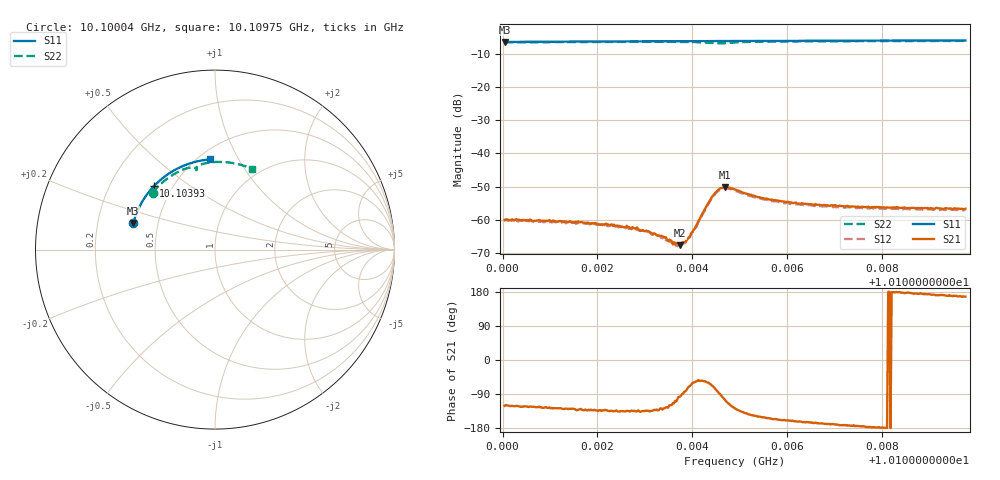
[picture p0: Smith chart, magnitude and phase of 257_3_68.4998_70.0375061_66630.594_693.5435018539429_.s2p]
#  HZ  S  RI  R  50.00
! Rohde & Schwarz Vector Network Analyzer
! Rohde-Schwarz,ZNB20-2Port,1311601062101988,3.16
! Created: UTC 3/20/2024, 5:00:06 PM
! freq[Hz]  re:S11  im:S11  re:S21  im:S21  re:S12  im:S12  re:S22  im:S22
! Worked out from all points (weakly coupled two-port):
!   401 points, 10.10004 GHz to 10.10975 GHz, reference 50 ohm
!   highest |S21| = -50.17 dB at 10.10468 GHz (marker M1); lowest = -67.6 dB at 10.10373 GHz (marker M2)
!   lowest |S11| = -6.4 dB at 10.10004 GHz (marker M3), VSWR 2.84, Z = 18 + j6.93 ohm
!   |S11| at or under -10 dB: nowhere
!   |S22| runs from -6.9 to -6.1 dB; largest |S21 - S12| = 0.00031
!   S11 on the Smith chart (normalised r, x): 10.10004 GHz: 0.36, +0.14; 10.10393 GHz: 0.39, +0.37; 10.10975 GHz: 0.57, +0.76
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1.0100043e10  -0.4551 0.1483  -0.000507 -0.000853  -0.000413 -0.000873  -0.348 0.3177
1.0101669e10  -0.4198 0.2408  -0.000615 -0.000696  -0.000557 -0.000683  -0.2724 0.3907
1.0102131e10  -0.4065 0.2654  -0.000581 -0.000623  -0.000526 -0.000629  -0.248 0.4082
1.0102786e10  -0.385 0.299  -0.000517 -0.000531  -0.000485 -0.000537  -0.2108 0.4303
1.0103078e10  -0.3746 0.3133  -0.000465 -0.000482  -0.000442 -0.00049  -0.1934 0.439
1.0103296e10  -0.3665 0.3237  -0.000381 -0.000429  -0.000344 -0.000462  -0.1797 0.445
1.0103393e10  -0.3628 0.3283  -0.000343 -0.000439  -0.00029 -0.00042  -0.1734 0.4475
1.0103612e10  -0.3543 0.3386  -0.000191 -0.000419  -0.000117 -0.000405  -0.1588 0.4525
1.0103733e10  -0.3494 0.344  -5.13e-05 -0.000413  -2.79e-05 -0.00044  -0.1503 0.4549
1.0103806e10  -0.3463 0.3472  8.49e-06 -0.000462  3.33e-05 -0.000433  -0.1452 0.4561
1.0103927e10  -0.3413 0.3526  0.000184 -0.000515  0.000211 -0.000489  -0.1361 0.4577
1.0104049e10  -0.3362 0.3579  0.000384 -0.000626  0.000443 -0.000571  -0.1266 0.4582
1.0104316e10  -0.3247 0.3692  0.000863 -0.00144  0.000955 -0.00132  -0.1067 0.4531
1.0104437e10  -0.3194 0.3743  0.000803 -0.00218  0.000913 -0.00204  -0.1017 0.4471
1.0104559e10  -0.3139 0.3792  0.000142 -0.00287  0.000404 -0.00272  -0.1029 0.4425
1.010468e10  -0.3085 0.3841  -0.00077 -0.003  -0.000511 -0.00293  -0.1061 0.445
1.0104898e10  -0.2988 0.3928  -0.00175 -0.00227  -0.00149 -0.00229  -0.102 0.4582
1.0105263e10  -0.2812 0.4065  -0.00191 -0.0013  -0.00173 -0.00141  -0.0792 0.4735
1.0105627e10  -0.2635 0.4194  -0.00182 -0.000892  -0.00166 -0.000996  -0.0541 0.4811
1.0106525e10  -0.2168 0.4477  -0.00164 -0.000446  -0.00154 -0.000543  0.00574 0.4883
1.0108152e10  -0.1259 0.4845  -0.00152 2.55e-07  -0.00148 -0.000152  0.1105 0.48
1.0109754e10  -0.0306 0.5021  -0.00143 0.000325  -0.00141 0.000148  0.2079 0.4499
